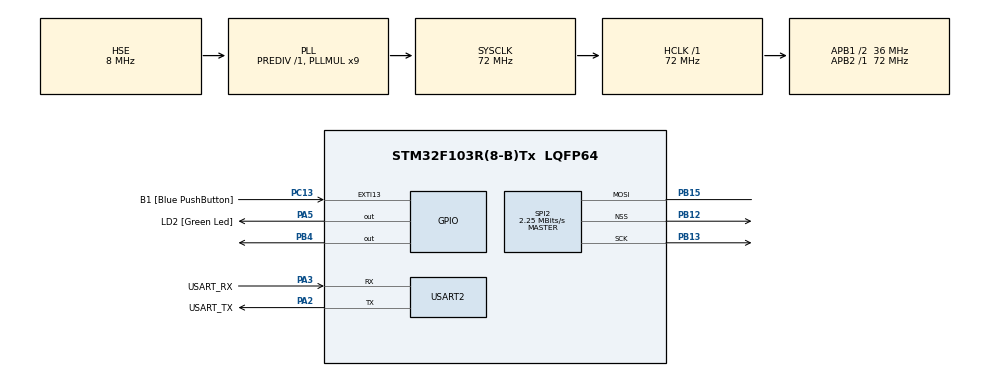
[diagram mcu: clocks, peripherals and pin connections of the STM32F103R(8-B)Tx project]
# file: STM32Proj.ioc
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Dma.Request0=SPI2_TX
Dma.SPI2_TX.0.Direction=DMA_MEMORY_TO_PERIPH
Dma.SPI2_TX.0.Instance=DMA1_Channel5
Dma.SPI2_TX.0.MemDataAlignment=DMA_MDATAALIGN_BYTE
Dma.SPI2_TX.0.MemInc=DMA_MINC_ENABLE
Dma.SPI2_TX.0.Mode=DMA_NORMAL
Dma.SPI2_TX.0.PeriphDataAlignment=DMA_PDATAALIGN_BYTE
Dma.SPI2_TX.0.PeriphInc=DMA_PINC_DISABLE
Dma.SPI2_TX.0.Priority=DMA_PRIORITY_LOW
Mcu.Family=STM32F1
Mcu.Name=STM32F103R(8-B)Tx
Mcu.Package=LQFP64
NVIC.DMA1_Channel5_IRQn=true\:0\:0\:false\:false\:true\:false\:true\:true
NVIC.EXTI15_10_IRQn=true\:0\:0\:false\:false\:true\:true\:true\:true
NVIC.PriorityGroup=NVIC_PRIORITYGROUP_4
NVIC.SPI2_IRQn=true\:0\:0\:false\:false\:true\:true\:true\:true
PA13.GPIO_Label=TMS
PA13.Mode=Serial_Wire
PA13.Signal=SYS_JTMS-SWDIO
PA14.GPIO_Label=TCK
PA14.Mode=Serial_Wire
PA14.Signal=SYS_JTCK-SWCLK
PA2.GPIO_Label=USART_TX
PA2.GPIO_Mode=GPIO_MODE_AF_PP
PA2.GPIO_PuPd=GPIO_NOPULL
PA2.GPIO_Speed=GPIO_SPEED_FREQ_LOW
PA2.Mode=Asynchronous
PA2.Signal=USART2_TX
PA3.GPIO_Label=USART_RX
PA3.GPIO_Mode=GPIO_MODE_AF_PP
PA3.GPIO_PuPd=GPIO_NOPULL
PA3.GPIO_Speed=GPIO_SPEED_FREQ_LOW
PA3.Mode=Asynchronous
PA3.Signal=USART2_RX
PA5.GPIO_Label=LD2 [Green Led]
PA5.GPIO_ModeDefaultOutputPP=GPIO_MODE_OUTPUT_PP
PA5.GPIO_PuPd=GPIO_NOPULL
PA5.GPIO_Speed=GPIO_SPEED_FREQ_LOW
PA5.Signal=GPIO_Output
PB12.Mode=NSS_Signal_Hard_Output
PB12.Signal=SPI2_NSS
PB13.Mode=Simplex_Bidirectional_Master
PB13.Signal=SPI2_SCK
PB15.Mode=Simplex_Bidirectional_Master
PB15.Signal=SPI2_MOSI
PB3.GPIO_Label=SWO
PB3.Signal=SYS_JTDO-TRACESWO
PB4.Signal=GPIO_Output
PC13-TAMPER-RTC.GPIO_Label=B1 [Blue PushButton]
PC13-TAMPER-RTC.GPIO_PuPd=GPIO_NOPULL
PC13-TAMPER-RTC.Signal=GPXTI13
PC14-OSC32_IN.Signal=RCC_OSC32_IN
PC15-OSC32_OUT.Signal=RCC_OSC32_OUT
PD0-OSC_IN.Mode=HSE-External-Oscillator
PD0-OSC_IN.Signal=RCC_OSC_IN
PD1-OSC_OUT.Mode=HSE-External-Oscillator
PD1-OSC_OUT.Signal=RCC_OSC_OUT
ProjectManager.HeapSize=0x200
ProjectManager.StackSize=0x400
ProjectManager.TargetToolchain=STM32CubeIDE
RCC.AHBFreq_Value=72000000
RCC.APB1CLKDivider=RCC_HCLK_DIV2
RCC.APB1Freq_Value=36000000
RCC.APB1TimFreq_Value=72000000
RCC.APB2Freq_Value=72000000
RCC.APB2TimFreq_Value=72000000
RCC.HCLKFreq_Value=72000000
RCC.PLLMUL=RCC_PLL_MUL9
RCC.PLLSourceVirtual=RCC_PLLSOURCE_HSE
RCC.RTCClockSelection=RCC_RTCCLKSOURCE_LSE
RCC.SYSCLKFreq_VALUE=72000000
RCC.SYSCLKSource=RCC_SYSCLKSOURCE_PLLCLK
RCC.USBFreq_Value=72000000
SPI2.BaudRatePrescaler=SPI_BAUDRATEPRESCALER_16
SPI2.CalculateBaudRate=2.25 MBits/s
SPI2.Direction=SPI_DIRECTION_1LINE
SPI2.Mode=SPI_MODE_MASTER
SPI2.VirtualNSS=VM_NSSHARD
SPI2.VirtualType=VM_MASTER
TIM1.Prescaler=71
USART2.VirtualMode=VM_ASYNC
VP_TIM1_VS_ClockSourceINT.Mode=Internal
board=NUCLEO-F103RB

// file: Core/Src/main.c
/* USER CODE BEGIN Header */
/**
  ******************************************************************************
  * @file           : main.c
  * @brief          : Main program body
  ******************************************************************************
  * @attention
  *
  * Copyright (c) 2024 STMicroelectronics.
  * All rights reserved.
  *
  * This software is licensed under terms that can be found in the LICENSE file
  * in the root directory of this software component.
  * If no LICENSE file comes with this software, it is provided AS-IS.
  *
  ******************************************************************************
  */
/* USER CODE END Header */
#include "main.h"

SPI_HandleTypeDef hspi2;
DMA_HandleTypeDef hdma_spi2_tx;

TIM_HandleTypeDef htim1;

UART_HandleTypeDef huart2;

/* USER CODE BEGIN PV */
float data[3];
uint8_t buffer[sizeof(data)];
/* USER CODE END PV */

void SystemClock_Config(void);
static void MX_GPIO_Init(void);
static void MX_DMA_Init(void);
static void MX_USART2_UART_Init(void);
static void MX_TIM1_Init(void);
static void MX_SPI2_Init(void);

/* USER CODE BEGIN 0 */
#define DHT22_PORT GPIOB
#define DHT22_PIN GPIO_PIN_4
uint8_t RH1, RH2, TC1, TC2, SUM, CHECK;
uint32_t pMillis, cMillis;
float tCelsius = 0;
float tFahrenheit = 0;
float RH = 0;

void microDelay (uint16_t delay)	// Since prescaler set to 71 with sysclk of 72Mhz, we get a 1Mhz timer
{
  __HAL_TIM_SET_COUNTER(&htim1, 0);
  while (__HAL_TIM_GET_COUNTER(&htim1) < delay);
}

uint8_t DHT22_Start (void)
{
  uint8_t Response = 0;
  GPIO_InitTypeDef GPIO_InitStructPrivate = {0};
  //GPIO_InitStructPrivate.Pin = DHT22_PIN;				//Already set by GPIO_Init
  //GPIO_InitStructPrivate.Mode = GPIO_MODE_OUTPUT_PP;
  //GPIO_InitStructPrivate.Speed = GPIO_SPEED_FREQ_LOW;
  //GPIO_InitStructPrivate.Pull = GPIO_NOPULL;
  //HAL_GPIO_Init(DHT22_PORT, &GPIO_InitStructPrivate);
  HAL_GPIO_WritePin (DHT22_PORT, DHT22_PIN, 0);   // pull the pin low
  microDelay (1300);   // wait for 1300us
  HAL_GPIO_WritePin (DHT22_PORT, DHT22_PIN, 1);   // pull the pin high
  GPIO_InitStructPrivate.Mode = GPIO_MODE_INPUT;
  GPIO_InitStructPrivate.Pull = GPIO_PULLUP;
  HAL_GPIO_Init(DHT22_PORT, &GPIO_InitStructPrivate); // set the pin as input
  microDelay (40);
  if (!(HAL_GPIO_ReadPin (DHT22_PORT, DHT22_PIN)))
  {
    microDelay (80);
    if ((HAL_GPIO_ReadPin (DHT22_PORT, DHT22_PIN))) Response = 1;
  }
  pMillis = HAL_GetTick();
  cMillis = HAL_GetTick();
  while ((HAL_GPIO_ReadPin (DHT22_PORT, DHT22_PIN)) && pMillis + 2 > cMillis)
  {
    cMillis = HAL_GetTick();
  }
  return Response;
}

uint8_t DHT22_Read (void)
{
  uint8_t a,b;
  for (a=0;a<8;a++)
  {
    pMillis = HAL_GetTick();
    cMillis = HAL_GetTick();
    while (!(HAL_GPIO_ReadPin (DHT22_PORT, DHT22_PIN)) && pMillis + 2 > cMillis)
    {  // wait for the pin to go high
      cMillis = HAL_GetTick();
    }
    microDelay (40);   // if the pin is still high after 28us, then the sensor output is 1 (until 70us), otherwise 0
    if (!(HAL_GPIO_ReadPin (DHT22_PORT, DHT22_PIN)))   // if the pin is low
      b&= ~(1<<(7-a));
    else
      b|= (1<<(7-a));	// 1 left shift by 7-index
    pMillis = HAL_GetTick();
    cMillis = HAL_GetTick();
    while ((HAL_GPIO_ReadPin (DHT22_PORT, DHT22_PIN)) && pMillis + 2 > cMillis)
    {  // wait for the pin to go low
      cMillis = HAL_GetTick();
    }
  }
  return b;
}
/* USER CODE END 0 */

int main(void)
{

  /* MCU Configuration--------------------------------------------------------*/

  /* Reset of all peripherals, Initializes the Flash interface and the Systick. */
  HAL_Init();

  /* Configure the system clock */
  SystemClock_Config();

  /* Initialize all configured peripherals */
  MX_GPIO_Init();
  MX_DMA_Init();
  MX_USART2_UART_Init();
  MX_TIM1_Init();
  MX_SPI2_Init();
  /* USER CODE BEGIN 2 */

  HAL_TIM_Base_Start(&htim1);

  RCC->APB2ENR |= RCC_APB2ENR_IOPAEN;
  RCC->APB1ENR |= RCC_APB1ENR_SPI2EN;

  GPIOA->BSRR = GPIO_BSRR_BS5; // LED ON (Set PA5)
  GPIOA->BSRR = GPIO_BSRR_BR5; // LED OFF (Reset PA5)

  /* USER CODE END 2 */

  /* Infinite loop */
  /* USER CODE BEGIN WHILE */
  while (1)
  {
	  if(DHT22_Start()) {
		RH1 = DHT22_Read(); // First 8bits of Relative humidity
		RH2 = DHT22_Read(); // Second 8bits of Relative humidity
		TC1 = DHT22_Read(); // First 8bits of Celsius
		TC2 = DHT22_Read(); // Second 8bits of Celsius
		SUM = DHT22_Read(); // Check sum
		CHECK = RH1 + RH2 + TC1 + TC2;
	    if (CHECK == SUM) {
	    	//TC1 = 0b10000001;		// uncomment to test for negative
	    	if (TC1>127) {
	    	  TC1 &= ~(1<<7);
	    	  tCelsius = (float)((TC1<<8)|TC2)/-10;
			} else {
			  tCelsius = (float)((TC1<<8)|TC2)/10;
			}
		  tFahrenheit = tCelsius * 9/5 + 32;
		  RH = (float) ((RH1<<8)|RH2)/10;
	     }
	  }
	  printf("Temperature: %2.1f degC\n", tCelsius);
	  printf("Temperature: %2.1f degF\n", tFahrenheit);
	  printf("Humidity: %2.1f%%\n\n", RH);
	  data[0] = tCelsius; data[1] = tFahrenheit; data[2] = RH;
	  memcpy(buffer, data, sizeof(data));

	  //char string[] = "Hello World";

	  HAL_SPI_Transmit(&hspi2, buffer, sizeof(data), HAL_MAX_DELAY);

	  SPI2->CR1 &= ~SPI_CR1_SPE;  // Disable SPI2

	  HAL_Delay(1000);
    /* USER CODE END WHILE */

  }
}

void SystemClock_Config(void)
{
  RCC_OscInitTypeDef RCC_OscInitStruct = {0};
  RCC_ClkInitTypeDef RCC_ClkInitStruct = {0};

  /** Initializes the RCC Oscillators according to the specified parameters
  * in the RCC_OscInitTypeDef structure.
  */
  RCC_OscInitStruct.OscillatorType = RCC_OSCILLATORTYPE_HSE;
  RCC_OscInitStruct.HSEState = RCC_HSE_ON;
  RCC_OscInitStruct.HSEPredivValue = RCC_HSE_PREDIV_DIV1;
  RCC_OscInitStruct.HSIState = RCC_HSI_ON;
  RCC_OscInitStruct.PLL.PLLState = RCC_PLL_ON;
  RCC_OscInitStruct.PLL.PLLSource = RCC_PLLSOURCE_HSE;
  RCC_OscInitStruct.PLL.PLLMUL = RCC_PLL_MUL9;
  if (HAL_RCC_OscConfig(&RCC_OscInitStruct) != HAL_OK)
  {
    Error_Handler();
  }

  /** Initializes the CPU, AHB and APB buses clocks
  */
  RCC_ClkInitStruct.ClockType = RCC_CLOCKTYPE_HCLK|RCC_CLOCKTYPE_SYSCLK
                              |RCC_CLOCKTYPE_PCLK1|RCC_CLOCKTYPE_PCLK2;
  RCC_ClkInitStruct.SYSCLKSource = RCC_SYSCLKSOURCE_PLLCLK;
  RCC_ClkInitStruct.AHBCLKDivider = RCC_SYSCLK_DIV1;
  RCC_ClkInitStruct.APB1CLKDivider = RCC_HCLK_DIV2;
  RCC_ClkInitStruct.APB2CLKDivider = RCC_HCLK_DIV1;

  if (HAL_RCC_ClockConfig(&RCC_ClkInitStruct, FLASH_LATENCY_2) != HAL_OK)
  {
    Error_Handler();
  }
}

static void MX_SPI2_Init(void)
{

  /* SPI2 parameter configuration*/
  hspi2.Instance = SPI2;
  hspi2.Init.Mode = SPI_MODE_MASTER;
  hspi2.Init.Direction = SPI_DIRECTION_1LINE;
  hspi2.Init.DataSize = SPI_DATASIZE_8BIT;
  hspi2.Init.CLKPolarity = SPI_POLARITY_LOW;
  hspi2.Init.CLKPhase = SPI_PHASE_1EDGE;
  hspi2.Init.NSS = SPI_NSS_HARD_OUTPUT;
  hspi2.Init.BaudRatePrescaler = SPI_BAUDRATEPRESCALER_16;
  hspi2.Init.FirstBit = SPI_FIRSTBIT_MSB;
  hspi2.Init.TIMode = SPI_TIMODE_DISABLE;
  hspi2.Init.CRCCalculation = SPI_CRCCALCULATION_DISABLE;
  hspi2.Init.CRCPolynomial = 10;
  if (HAL_SPI_Init(&hspi2) != HAL_OK)
  {
    Error_Handler();
  }

}

static void MX_TIM1_Init(void)
{

  TIM_ClockConfigTypeDef sClockSourceConfig = {0};
  TIM_MasterConfigTypeDef sMasterConfig = {0};

  htim1.Instance = TIM1;
  htim1.Init.Prescaler = 71;
  htim1.Init.CounterMode = TIM_COUNTERMODE_UP;
  htim1.Init.Period = 65535;
  htim1.Init.ClockDivision = TIM_CLOCKDIVISION_DIV1;
  htim1.Init.RepetitionCounter = 0;
  htim1.Init.AutoReloadPreload = TIM_AUTORELOAD_PRELOAD_DISABLE;
  if (HAL_TIM_Base_Init(&htim1) != HAL_OK)
  {
    Error_Handler();
  }
  sClockSourceConfig.ClockSource = TIM_CLOCKSOURCE_INTERNAL;
  if (HAL_TIM_ConfigClockSource(&htim1, &sClockSourceConfig) != HAL_OK)
  {
    Error_Handler();
  }
  sMasterConfig.MasterOutputTrigger = TIM_TRGO_RESET;
  sMasterConfig.MasterSlaveMode = TIM_MASTERSLAVEMODE_DISABLE;
  if (HAL_TIMEx_MasterConfigSynchronization(&htim1, &sMasterConfig) != HAL_OK)
  {
    Error_Handler();
  }

}

static void MX_USART2_UART_Init(void)
{

  huart2.Instance = USART2;
  huart2.Init.BaudRate = 115200;
  huart2.Init.WordLength = UART_WORDLENGTH_8B;
  huart2.Init.StopBits = UART_STOPBITS_1;
  huart2.Init.Parity = UART_PARITY_NONE;
  huart2.Init.Mode = UART_MODE_TX_RX;
  huart2.Init.HwFlowCtl = UART_HWCONTROL_NONE;
  huart2.Init.OverSampling = UART_OVERSAMPLING_16;
  if (HAL_UART_Init(&huart2) != HAL_OK)
  {
    Error_Handler();
  }

}

static void MX_DMA_Init(void)
{

  /* DMA controller clock enable */
  __HAL_RCC_DMA1_CLK_ENABLE();

  /* DMA interrupt init */
  /* DMA1_Channel5_IRQn interrupt configuration */
  HAL_NVIC_SetPriority(DMA1_Channel5_IRQn, 0, 0);
  HAL_NVIC_EnableIRQ(DMA1_Channel5_IRQn);

}

static void MX_GPIO_Init(void)
{
  GPIO_InitTypeDef GPIO_InitStruct = {0};

  /* GPIO Ports Clock Enable */
  __HAL_RCC_GPIOC_CLK_ENABLE();
  __HAL_RCC_GPIOD_CLK_ENABLE();
  __HAL_RCC_GPIOA_CLK_ENABLE();
  __HAL_RCC_GPIOB_CLK_ENABLE();

  /*Configure GPIO pin Output Level */
  HAL_GPIO_WritePin(LD2_GPIO_Port, LD2_Pin, GPIO_PIN_RESET);

  /*Configure GPIO pin Output Level */
  HAL_GPIO_WritePin(GPIOB, GPIO_PIN_4, GPIO_PIN_RESET);

  /*Configure GPIO pin : B1_Pin */
  GPIO_InitStruct.Pin = B1_Pin;
  GPIO_InitStruct.Mode = GPIO_MODE_IT_RISING;
  GPIO_InitStruct.Pull = GPIO_NOPULL;
  HAL_GPIO_Init(B1_GPIO_Port, &GPIO_InitStruct);

  /*Configure GPIO pin : LD2_Pin */
  GPIO_InitStruct.Pin = LD2_Pin;
  GPIO_InitStruct.Mode = GPIO_MODE_OUTPUT_PP;
  GPIO_InitStruct.Pull = GPIO_NOPULL;
  GPIO_InitStruct.Speed = GPIO_SPEED_FREQ_LOW;
  HAL_GPIO_Init(LD2_GPIO_Port, &GPIO_InitStruct);

  /*Configure GPIO pin : PB4 */
  GPIO_InitStruct.Pin = GPIO_PIN_4;
  GPIO_InitStruct.Mode = GPIO_MODE_OUTPUT_PP;
  GPIO_InitStruct.Pull = GPIO_NOPULL;
  GPIO_InitStruct.Speed = GPIO_SPEED_FREQ_LOW;
  HAL_GPIO_Init(GPIOB, &GPIO_InitStruct);

  /* EXTI interrupt init*/
  HAL_NVIC_SetPriority(EXTI15_10_IRQn, 0, 0);
  HAL_NVIC_EnableIRQ(EXTI15_10_IRQn);

/* USER CODE BEGIN MX_GPIO_Init_2 */

  // SCK Pin
  GPIO_InitStruct.Pin = GPIO_PIN_13;
  GPIO_InitStruct.Mode = GPIO_MODE_AF_PP;  // Alternate Function, Push-Pull
  GPIO_InitStruct.Speed = GPIO_SPEED_FREQ_HIGH;  // High Speed for SPI
  GPIO_InitStruct.Pull = GPIO_NOPULL;
  HAL_GPIO_Init(GPIOB, &GPIO_InitStruct);

  // MOSI Pin
  GPIO_InitStruct.Pin = GPIO_PIN_15;
  HAL_GPIO_Init(GPIOB, &GPIO_InitStruct);

  // MISO Pin (optional, if using bi-directional data)
  GPIO_InitStruct.Pin = GPIO_PIN_14;
  HAL_GPIO_Init(GPIOB, &GPIO_InitStruct);

  // NSS Pin
  GPIO_InitStruct.Pin = GPIO_PIN_12;
  GPIO_InitStruct.Pull = GPIO_NOPULL;
  HAL_GPIO_Init(GPIOB, &GPIO_InitStruct);
/* USER CODE END MX_GPIO_Init_2 */
}

void Error_Handler(void)
{
  __disable_irq();
  while (1)
  {
  }
}
